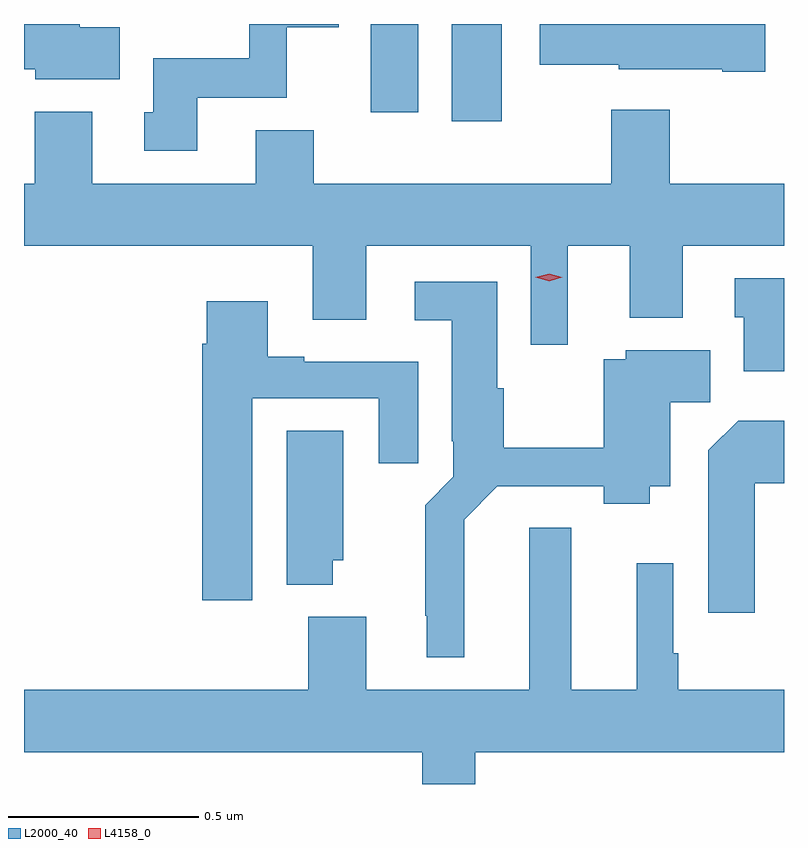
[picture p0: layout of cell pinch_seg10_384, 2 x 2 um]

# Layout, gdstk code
import gdstk
lib = gdstk.Library(unit=1e-6, precision=1e-09)
def R(c, l, rs):  # rectangles x0, y0, x1, y1
    for r in rs: c.add(gdstk.rectangle(r[:2], r[2:], *l))
def P(c, l, *ps):  # polygons
    for p in ps: c.add(gdstk.Polygon(p, *l))
L2000_40 = (2000, 40)
L4158_0 = (4158, 0)

pinch_seg10_384 = lib.new_cell('pinch_seg10_384')
R(pinch_seg10_384, L2000_40, [(498.353,1259.352,498.484,1259.608), (498.14,1259.376,498.265,1259.608)])
P(pinch_seg10_384, L2000_40, [(499.177,1259.608),(498.584,1259.608),(498.584,1259.501),(498.792,1259.501),(498.792,1259.489),(499.064,1259.489),(499.064,1259.482),(499.177,1259.482)],
  [(497.479,1259.6),(497.374,1259.6),(497.374,1259.608),(497.227,1259.608),(497.227,1259.489),(497.256,1259.489),(497.256,1259.462),(497.479,1259.462)],
  [(497.683,1259.414),(497.919,1259.414),(497.919,1259.6),(498.055,1259.6),(498.055,1259.608),(497.82,1259.608),(497.82,1259.518),(497.567,1259.518),(497.567,1259.376),(497.543,1259.376),(497.543,1259.274),(497.683,1259.274)],
  [(498.658,1259.024),(498.821,1259.024),(498.821,1258.835),(498.961,1258.835),(498.961,1259.024),(499.227,1259.024),(499.227,1259.188),(498.926,1259.188),(498.926,1259.383),(498.773,1259.383),(498.773,1259.188),(497.99,1259.188),(497.99,1259.329),(497.837,1259.329),(497.837,1259.188),(497.407,1259.188),(497.407,1259.377),(497.255,1259.377),(497.255,1259.188),(497.227,1259.188),(497.227,1259.024),(497.987,1259.024),(497.987,1258.83),(498.127,1258.83),(498.127,1259.024),(498.561,1259.024),(498.561,1258.764),(498.658,1258.764)],
  [(499.227,1258.939),(499.097,1258.939),(499.097,1258.836),(499.121,1258.836),(499.121,1258.694),(499.227,1258.694)],
  [(498.385,1258.304),(498.472,1258.392),(498.752,1258.392),(498.752,1258.346),(498.874,1258.346),(498.874,1258.391),(498.928,1258.391),(498.928,1258.612),(499.033,1258.612),(499.033,1258.75),(498.81,1258.75),(498.81,1258.726),(498.752,1258.726),(498.752,1258.493),(498.49,1258.493),(498.49,1258.65),(498.472,1258.65),(498.472,1258.93),(498.255,1258.93),(498.255,1258.829),(498.353,1258.829),(498.353,1258.51),(498.357,1258.51),(498.357,1258.416),(498.283,1258.342),(498.283,1258.051),(498.287,1258.051),(498.287,1257.941),(498.385,1257.941)],
  [(497.827,1258.623),(498.161,1258.623),(498.161,1258.452),(498.265,1258.452),(498.265,1258.719),(497.965,1258.719),(497.965,1258.732),(497.869,1258.732),(497.869,1258.879),(497.708,1258.879),(497.708,1258.766),(497.696,1258.766),(497.696,1258.092),(497.827,1258.092)],
  [(499.15,1258.4),(499.227,1258.4),(499.227,1258.564),(499.106,1258.564),(499.028,1258.486),(499.028,1258.059),(499.15,1258.059)],
  [(498.04,1258.197),(498.067,1258.197),(498.067,1258.538),(497.918,1258.538),(497.918,1258.133),(498.04,1258.133)],
  [(498.415,1257.692),(499.227,1257.692),(499.227,1257.856),(498.949,1257.856),(498.949,1257.952),(498.936,1257.952),(498.936,1258.189),(498.839,1258.189),(498.839,1257.856),(498.667,1257.856),(498.667,1258.282),(498.557,1258.282),(498.557,1257.856),(498.127,1257.856),(498.127,1258.048),(497.975,1258.048),(497.975,1257.856),(497.227,1257.856),(497.227,1257.692),(498.275,1257.692),(498.275,1257.608),(498.415,1257.608)])
P(pinch_seg10_384, L4158_0, [(498.609,1258.931),(498.573,1258.941),(498.573,1258.941),(498.573,1258.941),(498.609,1258.951),(498.644,1258.941),(498.644,1258.941),(498.644,1258.941)])

lib.write_gds('pinch_seg10_384.gds')
